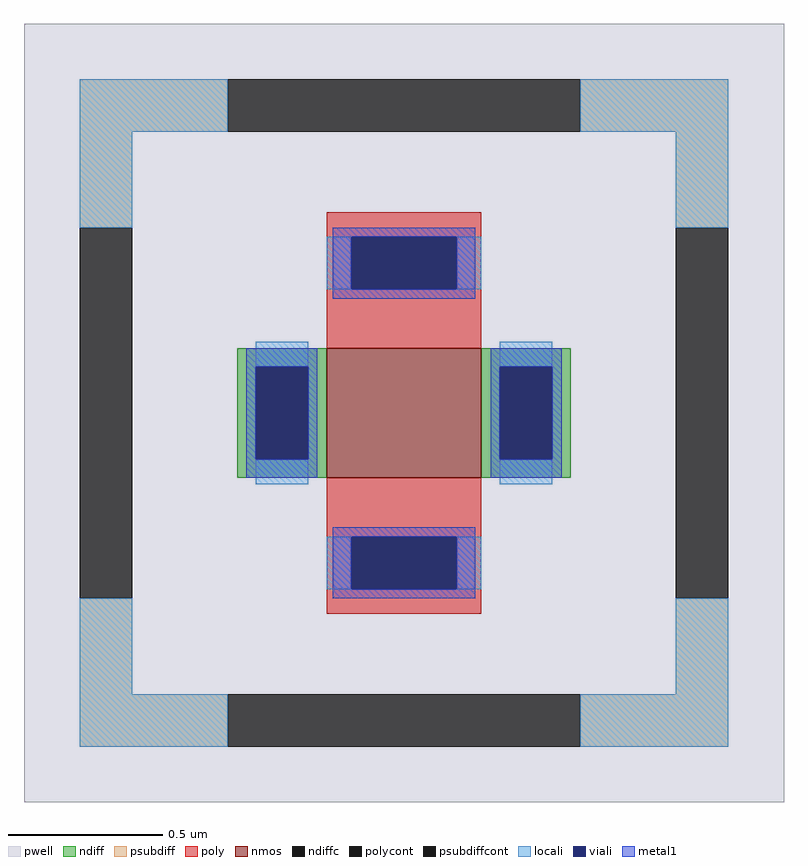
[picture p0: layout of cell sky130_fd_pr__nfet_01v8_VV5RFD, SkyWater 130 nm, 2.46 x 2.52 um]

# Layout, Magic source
magic
tech sky130A
magscale 1 2
<< pwell >>
rect -246 -252 246 252
<< nmos >>
rect -50 -42 50 42
<< ndiff >>
rect -108 30 -50 42
rect -108 -30 -96 30
rect -62 -30 -50 30
rect -108 -42 -50 -30
rect 50 30 108 42
rect 50 -30 62 30
rect 96 -30 108 30
rect 50 -42 108 -30
<< ndiffc >>
rect -96 -30 -62 30
rect 62 -30 96 30
<< psubdiff >>
rect -210 182 -114 216
rect 114 182 210 216
rect -210 120 -176 182
rect 176 120 210 182
rect -210 -182 -176 -120
rect 176 -182 210 -120
rect -210 -216 -114 -182
rect 114 -216 210 -182
<< psubdiffcont >>
rect -114 182 114 216
rect -210 -120 -176 120
rect 176 -120 210 120
rect -114 -216 114 -182
<< poly >>
rect -50 114 50 130
rect -50 80 -34 114
rect 34 80 50 114
rect -50 42 50 80
rect -50 -80 50 -42
rect -50 -114 -34 -80
rect 34 -114 50 -80
rect -50 -130 50 -114
<< polycont >>
rect -34 80 34 114
rect -34 -114 34 -80
<< locali >>
rect -210 182 -114 216
rect 114 182 210 216
rect -210 120 -176 182
rect 176 120 210 182
rect -50 80 -34 114
rect 34 80 50 114
rect -96 30 -62 46
rect -96 -46 -62 -30
rect 62 30 96 46
rect 62 -46 96 -30
rect -50 -114 -34 -80
rect 34 -114 50 -80
rect -210 -182 -176 -120
rect 176 -182 210 -120
rect -210 -216 -114 -182
rect 114 -216 210 -182
<< viali >>
rect -34 80 34 114
rect -96 -30 -62 30
rect 62 -30 96 30
rect -34 -114 34 -80
<< metal1 >>
rect -46 114 46 120
rect -46 80 -34 114
rect 34 80 46 114
rect -46 74 46 80
rect -102 30 -56 42
rect -102 -30 -96 30
rect -62 -30 -56 30
rect -102 -42 -56 -30
rect 56 30 102 42
rect 56 -30 62 30
rect 96 -30 102 30
rect 56 -42 102 -30
rect -46 -80 46 -74
rect -46 -114 -34 -80
rect 34 -114 46 -80
rect -46 -120 46 -114
<< properties >>
string FIXED_BBOX -193 -199 193 199
string gencell sky130_fd_pr__nfet_01v8
string library sky130
string parameters w 0.420 l 0.500 m 1 nf 1 diffcov 100 polycov 100 guard 1 glc 1 grc 1 gtc 1 gbc 1 tbcov 100 rlcov 100 topc 1 botc 1 poverlap 0 doverlap 1 lmin 0.15 wmin 0.42 compatible {sky130_fd_pr__nfet_01v8 sky130_fd_pr__nfet_01v8_lvt  sky130_fd_bs_flash__special_sonosfet_star  sky130_fd_pr__nfet_g5v0d10v5 sky130_fd_pr__nfet_05v0_nvt  sky130_fd_pr__nfet_03v3_nvt} full_metal 1 viasrc 100 viadrn 100 viagate 100 viagb 0 viagr 0 viagl 0 viagt 0
<< end >>
